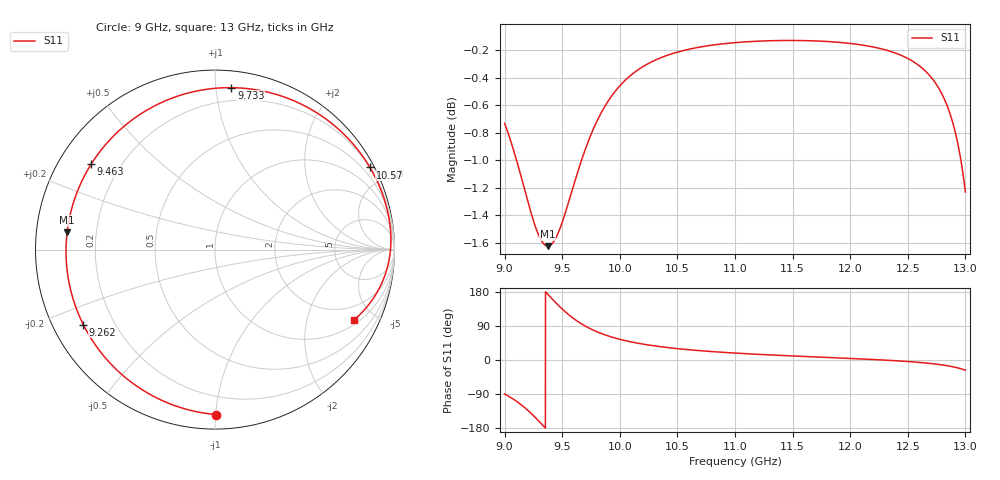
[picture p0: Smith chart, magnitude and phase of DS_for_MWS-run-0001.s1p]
! TOUCHSTONE file generated by CST DESIGN STUDIO
! Date and time: Tue Feb  4 18:12:15 2025
! Project name: C:\Work\MatlabApps\UnitCellOptimizationMatlab\CST\unitcell.cst
! Tree item: Tasks\Sweep1\SPara1\S-Parameters
! Header version: 2024
! Port assignment regex: !\s*Touchstone port\s*([0-9]+)\s*=\s*(CST MWS port|CST DES external port|CST DES block port)\s*(.+)\s* \(\"(.*)\"\)(\s*mode\s*([0-9]+))?.*
! Touchstone port assignment:
! Touchstone port 1 = CST DES external port 1 ("")
# GHz S MA R 50
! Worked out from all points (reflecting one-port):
!   4001 points, 9 GHz to 13 GHz, reference 50 ohm
!   lowest |S11| = -1.6 dB at 9.375 GHz (marker M1), VSWR 10.73, Z = 4.67 + j2.88 ohm
!   phase of S11 starts at -90 deg and turns -297 deg over the sweep
!   S11 on the Smith chart (normalised r, x): 9 GHz: 0.08, -1.00; 9.262 GHz: 0.09, -0.26; 9.463 GHz: 0.10, +0.31; 9.733 GHz: 0.11, +1.10; 10.57 GHz: 0.20, +4.01; 13 GHz: 1.21, -3.83
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9  0.9191 -89.7
9.073  0.9002 -102.7
9.139  0.8805 -117.0
9.2  0.8616 -132.4
9.262  0.8444 -150.3
9.32  0.8333 -168.6
9.375  0.8296 173.3
9.417  0.8317 159.7
9.463  0.8383 145.4
9.5  0.8463 134.5
9.552  0.8597 120.6
9.607  0.875 107.6
9.666  0.8908 95.6
9.733  0.9069 84.2
9.859  0.9306 67.7
10  0.9484 54.6
10.101  0.9572 47.6
10.216  0.9646 41.2
10.5  0.9754 30.0
10.569  0.9771 27.9
11  0.9832 18.3
11.5  0.985 10.6
12  0.9825 4.1
12.5  0.9703 -4.0
12.673  0.9583 -8.4
12.814  0.9386 -13.7
12.912  0.9124 -19.2
13  0.8679 -26.9
